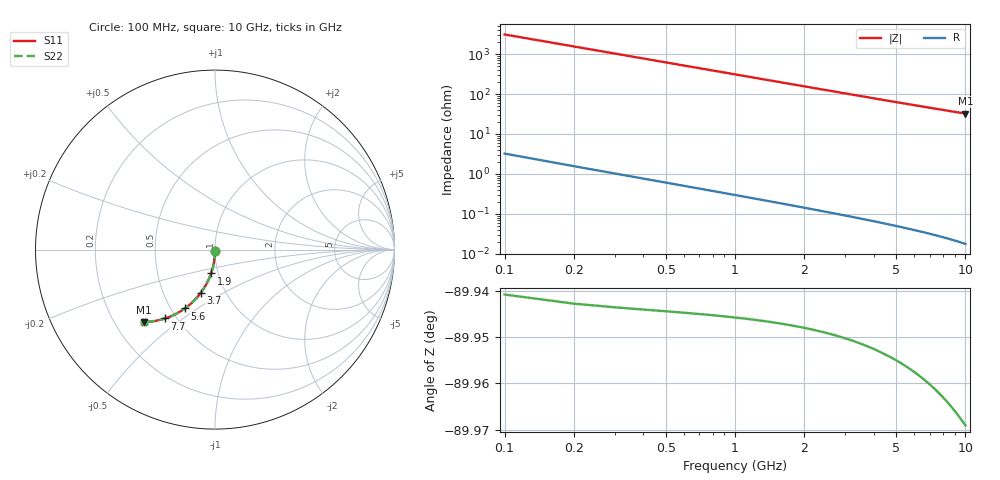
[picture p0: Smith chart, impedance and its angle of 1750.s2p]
# Hz S RI R 50.00
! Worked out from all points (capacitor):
!   100 points, 100 MHz to 10 GHz, reference 50 ohm
!   read as one part in shunt: C = 512 fF near 100 MHz
!   lowest |Z| = 32.4 ohm at 10 GHz (marker M1)
!   S11 on the Smith chart (normalised r, x): 100 MHz: 1.00, -0.01; 1.9 GHz: 0.92, -0.25; 3.7 GHz: 0.76, -0.40; 5.6 GHz: 0.59, -0.45; 7.7 GHz: 0.43, -0.43; 10 GHz: 0.32, -0.38
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1e8  0.000532 -0.00718  0.9993 -0.00889  0.9993 -0.00889  0.000532 -0.00718
2e8  0.000337 -0.0144  0.9991 -0.0178  0.9991 -0.0178  0.000337 -0.0144
3e8  1.29e-05 -0.0215  0.9988 -0.0267  0.9988 -0.0267  1.29e-05 -0.0215
4e8  -0.000439 -0.0287  0.9983 -0.0355  0.9983 -0.0355  -0.000439 -0.0287
5e8  -0.00102 -0.0358  0.9977 -0.0444  0.9977 -0.0444  -0.00102 -0.0358
6e8  -0.00172 -0.043  0.997 -0.0532  0.997 -0.0532  -0.00172 -0.043
8e8  -0.00351 -0.0572  0.9952 -0.0709  0.9952 -0.0709  -0.00351 -0.0572
1.1e9  -0.00713 -0.0783  0.9914 -0.0971  0.9914 -0.0971  -0.00713 -0.0783
1.4e9  -0.0118 -0.0992  0.9866 -0.1231  0.9866 -0.1231  -0.0118 -0.0992
1.8e9  -0.0198 -0.1264  0.9785 -0.1572  0.9785 -0.1572  -0.0198 -0.1264
1.9e9  -0.0221 -0.1331  0.9761 -0.1656  0.9761 -0.1656  -0.0221 -0.1331
2.2e9  -0.0296 -0.1528  0.9684 -0.1905  0.9684 -0.1905  -0.0296 -0.1528
2.6e9  -0.0411 -0.1783  0.9567 -0.2228  0.9567 -0.2228  -0.0411 -0.1783
3.4e9  -0.0687 -0.2258  0.9283 -0.284  0.9283 -0.284  -0.0687 -0.2258
3.7e9  -0.0804 -0.2423  0.9162 -0.3057  0.9162 -0.3057  -0.0804 -0.2423
4.4e9  -0.1105 -0.2778  0.8853 -0.3533  0.8853 -0.3533  -0.1105 -0.2778
5.1e9  -0.1434 -0.3088  0.8514 -0.3964  0.8514 -0.3964  -0.1434 -0.3088
5.6e9  -0.1683 -0.3281  0.8257 -0.4244  0.8257 -0.4244  -0.1683 -0.3281
6.7e9  -0.2256 -0.3622  0.7663 -0.4778  0.7663 -0.4778  -0.2256 -0.3622
7.7e9  -0.2789 -0.3838  0.7108 -0.517  0.7108 -0.517  -0.2789 -0.3838
8.4e9  -0.316 -0.3938  0.6719 -0.5395  0.6719 -0.5395  -0.316 -0.3938
1e10  -0.3977 -0.4033  0.5854 -0.5777  0.5854 -0.5777  -0.3977 -0.4033
